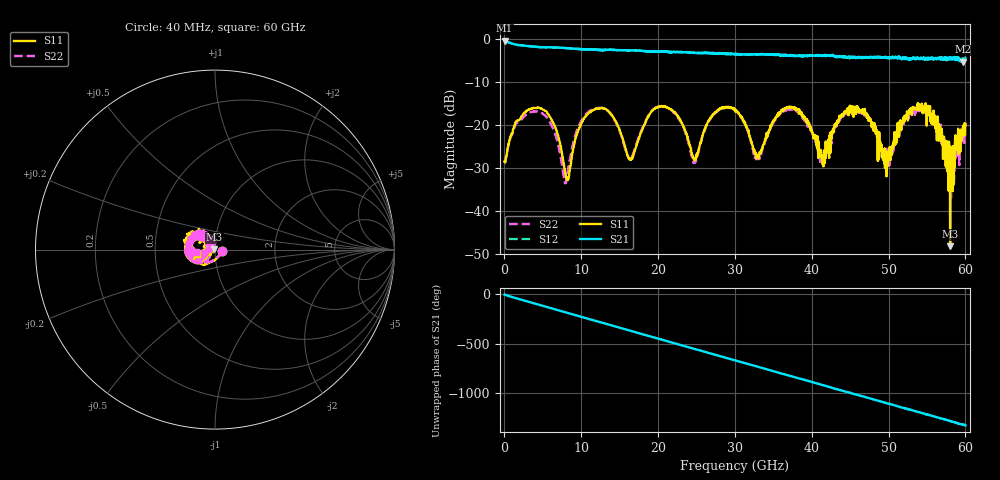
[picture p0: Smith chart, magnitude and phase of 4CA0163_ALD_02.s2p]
! File created by 'SoftPlot +Plus+ Measurement Management Software'
! SoftPlot +Plus+ Measurement Management Software
! Start 40.000000 MHz  Stop 60.000000 GHz  Points 1601
# MHZ S RI R 50
! S-Parameter data, F S11 S21 S12 S22
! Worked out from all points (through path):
!   1601 points, 40 MHz to 60 GHz, reference 50 ohm
!   highest |S21| = -0.37 dB at 40 MHz (marker M1); lowest = -5.3 dB at 59.66 GHz (marker M2)
!   group delay of S21, straight-line fit = 61.3 ps
!   lowest |S11| = -48.2 dB at 58.01 GHz (marker M3), VSWR 1.01, Z = 49.6 + j0.0898 ohm
!   |S11| at or under -10 dB: start of sweep to end of sweep
!   |S22| runs from -37.0 to -15.6 dB; largest |S21 - S12| = 0.065
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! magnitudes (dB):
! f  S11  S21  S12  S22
! 40 MHz  -28.4  -0.4  -0.4  -28.4
! 1.539 GHz  -19.2  -1.3  -1.3  -19.6
! 4.612 GHz  -16.0  -1.9  -1.9  -17.0
! 7.985 GHz  -31.7  -2.1  -2.1  -33.3
! 10.05 GHz  -19.6  -2.4  -2.4  -19.0
! 13.31 GHz  -16.4  -2.5  -2.5  -16.5
! 16.38 GHz  -28.1  -2.7  -2.6  -27.8
! 20.05 GHz  -15.9  -2.9  -2.9  -15.8
! 24.77 GHz  -27.9  -3.2  -3.2  -28.8
! 27.02 GHz  -18.0  -3.4  -3.3  -18.1
! 30.02 GHz  -16.5  -3.5  -3.5  -16.5
! 32.91 GHz  -27.7  -3.6  -3.6  -28.3
! 36.69 GHz  -16.0  -3.8  -3.8  -16.6
! 40.03 GHz  -21.6  -3.8  -3.9  -21.7
! 41.49 GHz  -27.1  -3.9  -4.0  -27.6
! 43.89 GHz  -17.6  -4.2  -4.1  -18.1
! 46.62 GHz  -16.9  -4.3  -4.2  -16.8
! 50.03 GHz  -27.1  -4.4  -4.3  -28.3
! 54.04 GHz  -15.2  -4.5  -4.8  -16.5
! 58.01 GHz  -48.2  -4.2  -4.7  -33.3
! 59.66 GHz  -22.5  -5.3  -5.0  -23.6
! 60 GHz  -19.8  -4.4  -4.7  -19.4
